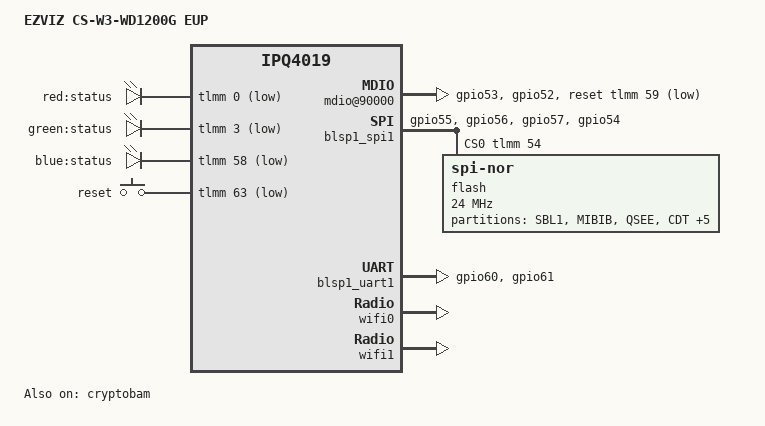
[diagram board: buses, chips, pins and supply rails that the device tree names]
// SPDX-License-Identifier: GPL-2.0-only OR MIT

#include "qcom-ipq4019.dtsi"
#include <dt-bindings/gpio/gpio.h>
#include <dt-bindings/input/input.h>
#include <dt-bindings/soc/qcom,tcsr.h>

/ {
	model = "EZVIZ CS-W3-WD1200G EUP";
	compatible = "ezviz,cs-w3-wd1200g-eup";

	aliases {
		led-boot = &led_status_green;
		led-failsafe = &led_status_red;
		led-running = &led_status_blue;
		led-upgrade = &led_status_green;
	};

	soc {
		rng@22000 {
			status = "okay";
		};

		mdio@90000 {
			status = "okay";
			pinctrl-0 = <&mdio_pins>;
			pinctrl-names = "default";
			reset-gpios = <&tlmm 59 GPIO_ACTIVE_LOW>;
			reset-delay-us = <5000>;
		};

		ess-psgmii@98000 {
			status = "okay";
		};

		tcsr@1949000 {
			compatible = "qcom,tcsr";
			reg = <0x1949000 0x100>;
			qcom,wifi_glb_cfg = <TCSR_WIFI_GLB_CFG>;
		};

		tcsr@194b000 {
			compatible = "qcom,tcsr";
			reg = <0x194b000 0x100>;
			qcom,usb-hsphy-mode-select = <TCSR_USB_HSPHY_HOST_MODE>;
		};

		ess_tcsr@1953000 {
			compatible = "qcom,tcsr";
			reg = <0x1953000 0x1000>;
			qcom,ess-interface-select = <TCSR_ESS_PSGMII>;
		};

		tcsr@1957000 {
			compatible = "qcom,tcsr";
			reg = <0x1957000 0x100>;
			qcom,wifi_noc_memtype_m0_m2 = <TCSR_WIFI_NOC_MEMTYPE_M0_M2>;
		};

		crypto@8e3a000 {
			status = "okay";
		};

		watchdog@b017000 {
			status = "okay";
		};

		ess-switch@c000000 {
			status = "okay";
		};

		edma@c080000 {
			status = "okay";
		};
	};

	leds {
		compatible = "gpio-leds";

		led_status_red: status_red {
			label = "red:status";
			gpios = <&tlmm 0 GPIO_ACTIVE_LOW>;
		};

		led_status_green: status_green {
			label = "green:status";
			gpios = <&tlmm 3 GPIO_ACTIVE_LOW>;
		};

		led_status_blue: status_blue {
			label = "blue:status";
			gpios = <&tlmm 58 GPIO_ACTIVE_LOW>;
		};
	};

	keys {
		compatible = "gpio-keys";

		reset {
			label = "reset";
			gpios = <&tlmm 63 GPIO_ACTIVE_LOW>;
			linux,code = <KEY_RESTART>;
		};
	};
};

&tlmm {
	serial_pins: serial_pinmux {
		mux {
			pins = "gpio60", "gpio61";
			function = "blsp_uart0";
			bias-disable;
		};
	};

	mdio_pins: mdio_pinmux {
		mux_1 {
			pins = "gpio53";
			function = "mdio";
			bias-pull-up;
		};

		mux_2 {
			pins = "gpio52";
			function = "mdc";
			bias-pull-up;
		};
	};

	spi_0_pins: spi_0_pinmux {
		pin {
			function = "blsp_spi0";
			pins = "gpio55", "gpio56", "gpio57";
			drive-strength = <12>;
			bias-disable;
		};
		pin_cs {
			function = "gpio";
			pins = "gpio54";
			drive-strength = <2>;
			bias-disable;
			output-high;
		};
	};
};

&blsp_dma {
	status = "okay";
};

&blsp1_spi1 {
	pinctrl-0 = <&spi_0_pins>;
	pinctrl-names = "default";
	status = "okay";
	cs-gpios = <&tlmm 54 GPIO_ACTIVE_HIGH>;

	flash@0 {
		compatible = "jedec,spi-nor";
		reg = <0>;
		spi-max-frequency = <24000000>;

		partitions {
			compatible = "fixed-partitions";
			#address-cells = <1>;
			#size-cells = <1>;

			partition0@0 {
				label = "SBL1";
				reg = <0x00000000 0x00040000>;
				read-only;
			};

			partition1@40000 {
				label = "MIBIB";
				reg = <0x00040000 0x00020000>;
				read-only;
			};

			partition2@60000 {
				label = "QSEE";
				reg = <0x00060000 0x00060000>;
				read-only;
			};

			partition3@c0000 {
				label = "CDT";
				reg = <0x000c0000 0x00010000>;
				read-only;
			};

			partition4@d0000 {
				label = "DDRPARAMS";
				reg = <0x000d0000 0x00010000>;
				read-only;
			};

			partition5@E0000 {
				label = "APPSBLENV";
				reg = <0x000e0000 0x00010000>;
				read-only;
			};

			partition6@F0000 {
				label = "APPSBL";
				reg = <0x000f0000 0x00080000>;
				read-only;
			};

			partition7@170000 {
				label = "ART";
				reg = <0x00170000 0x00010000>;
				read-only;

				compatible = "nvmem-cells";
				#address-cells = <1>;
				#size-cells = <1>;

				macaddr_art_0: macaddr@0 {
					reg = <0x0 0x6>;
				};

				macaddr_art_6: macaddr@6 {
					reg = <0x6 0x6>;
				};

				precal_art_1000: precal@1000 {
					reg = <0x1000 0x2f20>;
				};

				precal_art_5000: precal@5000 {
					reg = <0x5000 0x2f20>;
				};
			};

			partition9@580000 {
				compatible = "denx,fit";
				label = "firmware";
				reg = <0x00180000 0x00e80000>;
			};
		};
	};
};

&blsp1_uart1 {
	pinctrl-0 = <&serial_pins>;
	pinctrl-names = "default";
	status = "okay";
};

&cryptobam {
	status = "okay";
};

&wifi0 {
	status = "okay";
	qcom,ath10k-calibration-variant = "ezviz-cs-w3-wd1200g-eup";
	nvmem-cell-names = "pre-calibration";
	nvmem-cells = <&precal_art_1000>;
};

&wifi1 {
	status = "okay";
	qcom,ath10k-calibration-variant = "ezviz-cs-w3-wd1200g-eup";
	nvmem-cell-names = "pre-calibration";
	nvmem-cells = <&precal_art_5000>;
};

&gmac0 {
	nvmem-cell-names = "mac-address";
	nvmem-cells = <&macaddr_art_6>;
};

&gmac1 {
	nvmem-cell-names = "mac-address";
	nvmem-cells = <&macaddr_art_0>;
};
